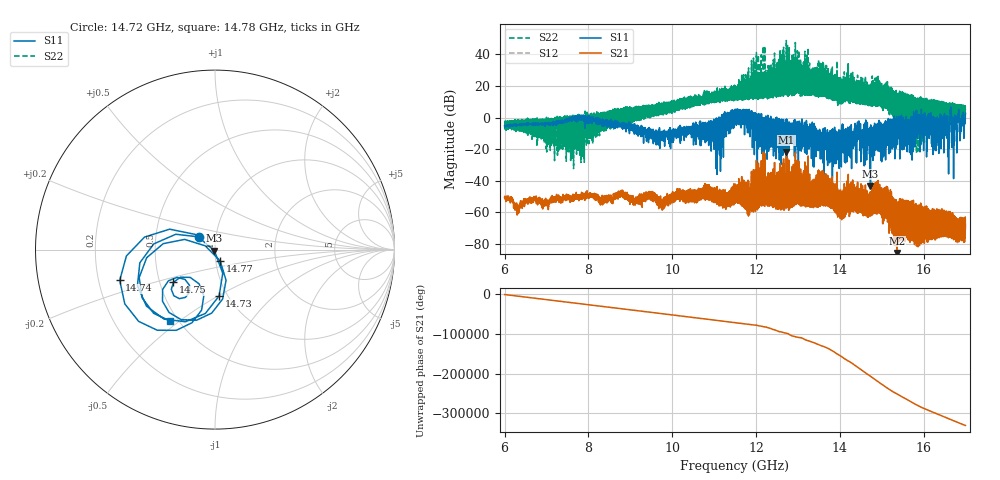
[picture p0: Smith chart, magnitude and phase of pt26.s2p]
#  HZ  S  RI  R  50.00
! Rohde & Schwarz Vector Network Analyzer
! Rohde-Schwarz,ZNA67-2Port,1332450062101215,3.01
! Created: UTC 10/15/2026, 3:11:34 PM
! freq[Hz]  re:S11  im:S11  re:S21  im:S21  re:S12  im:S12  re:S22  im:S22
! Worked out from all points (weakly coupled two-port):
!   11001 points, 6 GHz to 17 GHz, reference 50 ohm
!   highest |S21| = -21.74 dB at 12.72 GHz (marker M1); lowest = -85.6 dB at 15.37 GHz (marker M2)
!   lowest |S11| = -43.3 dB at 14.73 GHz (marker M3), VSWR 1.01, Z = 49.7 - j0.586 ohm
!   |S11| at or under -10 dB: 13.65208 GHz to 13.70163 GHz (49.55 MHz wide, 0.362 % of centre); 13.72011 GHz to 13.76943 GHz (49.33 MHz wide, 0.359 % of centre); 14.08073 GHz to 14.12741 GHz (46.68 MHz wide, 0.331 % of centre) (the widest 3 of 480)
!   |S22| runs from -32.3 to 48.7 dB; largest |S21 - S12| = 0.0022
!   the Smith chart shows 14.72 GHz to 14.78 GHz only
!   S11 on the Smith chart (normalised r, x): 14.72 GHz: 0.83, +0.12; 14.73 GHz: 0.91, -0.51; 14.74 GHz: 0.29, -0.14; 14.75 GHz: 0.59, -0.23; 14.77 GHz: 1.05, -0.13; 14.78 GHz: 0.45, -0.46
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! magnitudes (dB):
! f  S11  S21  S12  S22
! 6 GHz  -5.3  -50.6  -50.6  -4.8
! 6.305 GHz  -4.3  -56.2  -56.2  -7.6
! 7.834 GHz  -0.4  -50.3  -50.2  -19.3
! 9.667 GHz  -10.6  -54.8  -55.0  1.4
! 11.05 GHz  -0.4  -46.5  -46.4  14.8
! 11.5 GHz  4.8  -51.4  -51.5  12.1
! 11.81 GHz  3.2  -48.7  -48.1  19.9
! 12.72 GHz  -3.7  -21.7  -21.8  48.7
! 13.33 GHz  -6.5  -53.3  -53.1  18.4
! 13.81 GHz  -14.1  -44.8  -44.8  22.7
! 14.72 GHz  -19.0  -58.7  -58.7  11.6
! 14.73 GHz  -11.7  -57.6  -57.5  11.4
! 14.73 GHz  -43.3  -59.8  -59.8  12.2
! 14.74 GHz  -5.1  -57.9  -57.9  9.9
! 14.75 GHz  -10.6  -60.0  -59.9  8.9
! 14.77 GHz  -23.2  -58.3  -58.6  11.5
! 14.78 GHz  -6.6  -48.5  -48.6  18.9
! 15.17 GHz  -9.3  -63.9  -63.6  5.4
! 15.37 GHz  -9.9  -85.6  -85.7  -0.3
! 15.81 GHz  -2.1  -58.2  -57.9  9.3
! 16.57 GHz  0.8  -74.5  -74.4  -4.0
! 17 GHz  2.7  -70.3  -69.5  2.0
